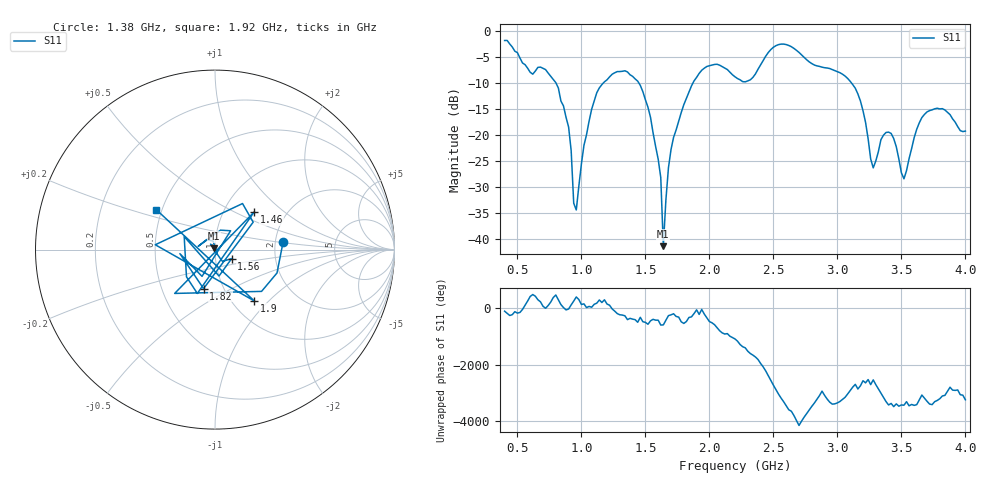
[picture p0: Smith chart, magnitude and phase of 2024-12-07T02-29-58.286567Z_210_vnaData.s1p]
!Created with skrf (http://scikit-rf.org).
# Hz S RI R 50.0
!freq ReS11 ImS11
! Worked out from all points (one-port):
!   181 points, 400 MHz to 4 GHz, reference 50 ohm
!   lowest |S11| = -41.3 dB at 1.64 GHz (marker M1), VSWR 1.02, Z = 49.4 + j0.61 ohm
!   |S11| at or under -10 dB: 802.6 MHz to 1.169 GHz (366.4 MHz wide, 37.2 % of centre); 1.45 GHz to 1.87 GHz (419.7 MHz wide, 25.3 % of centre); 3.112 GHz to end of sweep
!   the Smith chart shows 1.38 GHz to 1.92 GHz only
!   S11 on the Smith chart (normalised r, x): 1.38 GHz: 2.21, +0.23; 1.46 GHz: 1.39, +0.64; 1.56 GHz: 1.20, -0.12; 1.82 GHz: 0.80, -0.37; 1.9 GHz: 1.26, -0.83; 1.92 GHz: 0.47, +0.25
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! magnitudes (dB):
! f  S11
! 400 MHz  -1.8
! 860 MHz  -14.3
! 900 MHz  -18.4
! 940 MHz  -33.1
! 960 MHz  -34.4
! 1.02 GHz  -21.9
! 1.12 GHz  -11.8
! 1.3 GHz  -7.7
! 1.38 GHz  -8.3
! 1.46 GHz  -10.4
! 1.56 GHz  -19.5
! 1.62 GHz  -28.1
! 1.64 GHz  -41.3
! 1.68 GHz  -26.3
! 1.76 GHz  -17.3
! 1.82 GHz  -12.9
! 1.9 GHz  -8.9
! 1.92 GHz  -8.1
! 2.2 GHz  -8.7
! 2.66 GHz  -3.3
! 3.1 GHz  -9.6
! 3.18 GHz  -13.4
! 3.28 GHz  -26.3
! 3.38 GHz  -19.5
! 3.52 GHz  -28.4
! 3.56 GHz  -24.5
! 3.72 GHz  -15.2
! 4 GHz  -19.2
